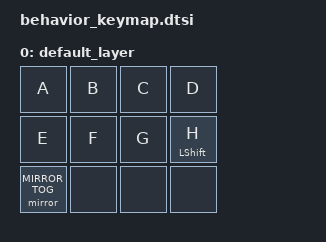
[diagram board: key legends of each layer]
#include <dt-bindings/zmk/keys.h>
#include <dt-bindings/zmk/mirror.h>
#include <behaviors.dtsi>
#include <dt-bindings/zmk/kscan_mock.h>

/*
 * Fork: mirror mode with combos and hold-tap (PATCH_MIRROR_MODE.md).
 *
 *  pos  0  1  2  3     A B C D
 *       4  5  6  7     E F G &mt LSHFT H
 *       8  9 10 11     mirror TOG, none...
 *
 * Map reflects rows 0 and 1 (0<->3, 1<->2, 4<->7, 5<->6); row 2 maps to itself.
 * Combos: {2,3} -> X, {1,2,3} -> Y.
 */
&kscan {
    rows = <3>;
    columns = <4>;
};

/ {
    behaviors {
        mirror: mirror {
            compatible = "zmk,behavior-mirror";
            #binding-cells = <1>;
            mirror-positions = <3 2 1 0  7 6 5 4  8 9 10 11>;
            base {
                layers = <0>;
            };
        };
    };

    combos {
        compatible = "zmk,combos";
        combo_cd {
            timeout-ms = <50>;
            key-positions = <2 3>;
            bindings = <&kp X>;
        };
        combo_bcd {
            timeout-ms = <50>;
            key-positions = <1 2 3>;
            bindings = <&kp Y>;
        };
    };

    keymap {
        compatible = "zmk,keymap";

        default_layer {
            bindings = <
                &kp A              &kp B  &kp C  &kp D
                &kp E              &kp F  &kp G  &mt LSHFT H
                &mirror MIRROR_TOG &none  &none  &none>;
        };
    };
};
